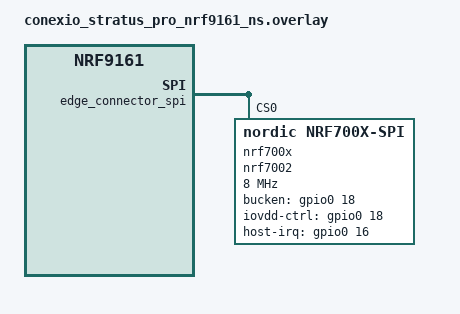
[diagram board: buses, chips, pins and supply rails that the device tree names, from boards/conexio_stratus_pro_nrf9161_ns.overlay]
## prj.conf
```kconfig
#
# Copyright (c) 2022 Nordic Semiconductor ASA
# Copyright (c) 2024 Conexio Technologies, Inc
#
# SPDX-License-Identifier: LicenseRef-Nordic-5-Clause
#
CONFIG_WIFI=y
CONFIG_WIFI_NRF700X=y
CONFIG_NET_L2_WIFI_MGMT=y
CONFIG_HEAP_MEM_POOL_SIZE=25000

# System settings
CONFIG_ASSERT=y

# Networking
CONFIG_NETWORKING=y
CONFIG_NET_L2_ETHERNET=y
CONFIG_NET_NATIVE=n
CONFIG_NET_OFFLOAD=y

CONFIG_INIT_STACKS=y

# Memories
CONFIG_MAIN_STACK_SIZE=4096

# Debugging
CONFIG_STACK_SENTINEL=y
CONFIG_DEBUG_COREDUMP=y
CONFIG_DEBUG_COREDUMP_BACKEND_LOGGING=y
CONFIG_DEBUG_COREDUMP_MEMORY_DUMP_MIN=y

# Logging
CONFIG_LOG=y
CONFIG_PRINTK=y
# If below config is enabled, printk logs are
# buffered. For unbuffered messages, disable this.
CONFIG_LOG_PRINTK=n

# printing of scan results puts pressure on queues in new locking
# design in net_mgmt. So, use a higher timeout for a crowded
# environment.
CONFIG_NET_MGMT_EVENT_QUEUE_TIMEOUT=5000

# Raw scan Options
CONFIG_WIFI_MGMT_RAW_SCAN_RESULTS=n
CONFIG_WIFI_MGMT_RAW_SCAN_RESULTS_ONLY=n

CONFIG_WIFI_SCAN_DWELL_TIME_ACTIVE=50
CONFIG_WIFI_SCAN_DWELL_TIME_PASSIVE=130

# Enable SPI for comms with nRF7002EB
CONFIG_SPI=y 
```

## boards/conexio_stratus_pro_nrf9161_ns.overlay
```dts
/*
 * Copyright (c) 2024 Conexio Technologies, Inc
 *
 * SPDX-License-Identifier: Apache-2.0
 */

/* enable nrf7002EB SPI comms */
&edge_connector_spi {
	status = "okay";

	nrf700x: nrf7002@0 {
		compatible = "nordic,nrf700x-spi";
		reg = <0>;
		spi-max-frequency = <DT_FREQ_M(8)>;

		/* No separate pin for IOVDD, BUCKEN will handle IOVDD automatically,
		 * but this entry is for compatibility purposes and to avoid adding a
		 * special case in the nRF700x driver.
		 * selects NRF_WIFI_COMBINED_BUCKEN_IOVDD_GPIO in Kconfig.shield
		 */
		bucken-gpios = <&gpio0 18 (GPIO_ACTIVE_HIGH | GPIO_PULL_DOWN)>;
		iovdd-ctrl-gpios = <&gpio0 18 (GPIO_ACTIVE_HIGH | GPIO_PULL_DOWN)>;
		host-irq-gpios = <&gpio0 16 GPIO_ACTIVE_HIGH>;
	};
};
```

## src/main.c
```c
/*
 * Copyright (c) 2022 Nordic Semiconductor ASA
 * Copyright (c) 2024 Conexio Technologies, Inc
 * 
 * SPDX-License-Identifier: LicenseRef-Nordic-5-Clause
 */

/** @file
 * @brief WiFi scan sample
 */

#include <zephyr/logging/log.h>
LOG_MODULE_REGISTER(scan, CONFIG_LOG_DEFAULT_LEVEL);

#include <zephyr/kernel.h>
#if defined(CLOCK_FEATURE_HFCLK_DIVIDE_PRESENT) || NRF_CLOCK_HAS_HFCLK192M
#include <nrfx_clock.h>
#endif
#include <stdio.h>
#include <stdlib.h>
#include <zephyr/shell/shell.h>
#include <zephyr/sys/printk.h>
#include <zephyr/init.h>

#include <zephyr/net/net_if.h>
#include <zephyr/net/wifi_mgmt.h>
#include <zephyr/net/wifi_utils.h>
#include <zephyr/net/net_event.h>
#include <zephyr/net/ethernet.h>
#include <zephyr/net/ethernet_mgmt.h>

#include "net_private.h"

#include <zephyr/drivers/gpio.h>

#define WIFI_SHELL_MODULE "wifi"

#ifdef CONFIG_WIFI_MGMT_RAW_SCAN_RESULTS_ONLY
#define WIFI_SHELL_MGMT_EVENTS (NET_EVENT_WIFI_RAW_SCAN_RESULT |                \
				NET_EVENT_WIFI_SCAN_DONE)
#else
#define WIFI_SHELL_MGMT_EVENTS (NET_EVENT_WIFI_SCAN_RESULT |		\
				NET_EVENT_WIFI_SCAN_DONE |		\
				NET_EVENT_WIFI_RAW_SCAN_RESULT)
#endif
#define SCAN_TIMEOUT_MS 10000

static uint32_t scan_result;

const struct wifi_scan_params tests[] = {
#ifdef CONFIG_WIFI_SCAN_PROFILE_DEFAULT
	{
	},
#endif
#ifdef CONFIG_WIFI_SCAN_PROFILE_ACTIVE
	{
	.scan_type = WIFI_SCAN_TYPE_ACTIVE,
	.dwell_time_active = CONFIG_WIFI_SCAN_DWELL_TIME_ACTIVE
	},
#endif
#ifdef CONFIG_WIFI_SCAN_PROFILE_PASSIVE
	{
	.scan_type = WIFI_SCAN_TYPE_PASSIVE,
	.dwell_time_passive = CONFIG_WIFI_SCAN_DWELL_TIME_PASSIVE
	},
#endif
#ifdef CONFIG_WIFI_SCAN_PROFILE_2_4GHz_ACTIVE
	{
	.scan_type = WIFI_SCAN_TYPE_ACTIVE,
	.bands = 0
	},
#endif
#ifdef CONFIG_WIFI_SCAN_PROFILE_2_4GHz_PASSIVE
	{
	.scan_type = WIFI_SCAN_TYPE_PASSIVE,
	.bands = 0
	},
#endif
#ifdef CONFIG_WIFI_SCAN_PROFILE_5GHz_ACTIVE
	{
	.scan_type = WIFI_SCAN_TYPE_ACTIVE,
	.bands = 0
	},
#endif
#ifdef CONFIG_WIFI_SCAN_PROFILE_5GHz_PASSIVE
	{
	.scan_type = WIFI_SCAN_TYPE_PASSIVE,
	.bands = 0
	},
#endif
#ifdef CONFIG_WIFI_SCAN_PROFILE_2_4GHz_NON_OVERLAP_CHAN
	{
	.bands = 0,
	.chan = { {0, 0} }
	},
#endif
#ifdef CONFIG_WIFI_SCAN_PROFILE_5GHz_NON_DFS_CHAN
	{
	.bands = 0,
	.chan = { {0, 0} }
	},
#endif
#ifdef CONFIG_WIFI_SCAN_PROFILE_2_4GHz_NON_OVERLAP_AND_5GHz_NON_DFS_CHAN
	{
	.bands = 0,
	.chan = { {0, 0} }
	},
#endif
};

static struct net_mgmt_event_callback wifi_shell_mgmt_cb;

K_SEM_DEFINE(scan_sem, 0, 1);

#if defined CONFIG_WIFI_NRF700X_SKIP_LOCAL_ADMIN_MAC
static bool local_mac_check(const uint8_t *const mac)
{
return ((mac[0] & 0x02) ||
((mac[0] == 0x00) && (mac[1] == 0x00) && (mac[2] == 0x5E)));
}
#endif /* CONFIG_WIFI_NRF700X_SKIP_LOCAL_ADMIN_MAC */

static void handle_wifi_scan_result(struct net_mgmt_event_callback *cb)
{
	const struct wifi_scan_result *entry =
		(const struct wifi_scan_result *)cb->info;
	uint8_t mac_string_buf[sizeof("xx:xx:xx:xx:xx:xx")];
	uint8_t ssid_print[WIFI_SSID_MAX_LEN + 1];

	scan_result++;

	if (scan_result == 1U) {
		printk("%-4s | %-32s %-5s | %-4s | %-4s | %-5s | %s\n",
		       "Num", "SSID", "(len)", "Chan", "RSSI", "Security", "BSSID");
	}

	strncpy(ssid_print, entry->ssid, sizeof(ssid_print) - 1);
	ssid_print[sizeof(ssid_print) - 1] = '\0';

#if defined CONFIG_WIFI_NRF700X_SKIP_LOCAL_ADMIN_MAC
	__ASSERT(!local_mac_check(entry->mac), "Locally administered MAC found: %s\n", ssid_print);
#endif /* CONFIG_WIFI_NRF700X_SKIP_LOCAL_ADMIN_MAC */

	printk("%-4d | %-32s %-5u | %-4u | %-4d | %-5s | %s\n",
	       scan_result, ssid_print, entry->ssid_length,
	       entry->channel, entry->rssi,
	       wifi_security_txt(entry->security),
	       ((entry->mac_length) ?
			net_sprint_ll_addr_buf(entry->mac, WIFI_MAC_ADDR_LEN, mac_string_buf,
						sizeof(mac_string_buf)) : ""));
}

#ifdef CONFIG_WIFI_MGMT_RAW_SCAN_RESULTS
static int wifi_freq_to_channel(int frequency)
{
	int channel = 0;

	if (frequency == 2484) { /* channel 14 */
		channel = 14;
	} else if ((frequency <= 2472) && (frequency >= 2412)) {
		channel = ((frequency - 2412) / 5) + 1;
	} else if ((frequency <= 5895) && (frequency >= 5180)) {
		channel = ((frequency - 5000) / 5);
	} else {
		channel = frequency;
	}

	return channel;
}

static enum wifi_frequency_bands wifi_frequency_to_band(int frequency)
{
	enum wifi_frequency_bands band = WIFI_FREQ_BAND_2_4_GHZ;

	if ((frequency  >= 2401) && (frequency <= 2495)) {
		band = WIFI_FREQ_BAND_2_4_GHZ;
	} else if ((frequency  >= 5170) && (frequency <= 5895)) {
		band = WIFI_FREQ_BAND_5_GHZ;
	}

	return band;
}

static void handle_raw_scan_result(struct net_mgmt_event_callback *cb)
{
	struct wifi_raw_scan_result *raw =
		(struct wifi_raw_scan_result *)cb->info;
	int channel;
	int band;
	int rssi;
	int i = 0;
	int raw_scan_size = raw->frame_length;
	uint8_t mac_string_buf[sizeof("xx:xx:xx:xx:xx:xx")];

	scan_result++;

	if (scan_result == 1U) {
		printk("%-4s | %-13s | %-4s |  %-15s | %-15s | %-32s\n",
		      "Num", "Channel (Band)", "RSSI", "BSSID", "Frame length", "Frame Body");
	}

	rssi = raw->rssi;
	channel = wifi_freq_to_channel(raw->frequency);
	band = wifi_frequency_to_band(raw->frequency);

	printk("%-4d | %-4u (%-6s) | %-4d | %s |      %-4d        ",
	      scan_result, channel,
	      wifi_band_txt(band),
	      rssi,
	      net_sprint_ll_addr_buf(raw->data + 10, WIFI_MAC_ADDR_LEN, mac_string_buf,
				     sizeof(mac_string_buf)), raw_scan_size);

	if (raw->frame_length > CONFIG_WIFI_MGMT_RAW_SCAN_RESULT_LENGTH) {
		raw_scan_size = CONFIG_WIFI_MGMT_RAW_SCAN_RESULT_LENGTH;
	}

	if (raw_scan_size) {
		for (i = 0; i < 32; i++) {
			printk("%02X ", *(raw->data + i));
		}
	}

	printk("\n");
}
#endif

static void handle_wifi_scan_done(struct net_mgmt_event_callback *cb)
{
	const struct wifi_status *status =
		(const struct wifi_status *)cb->info;

	if (status->status) {
		LOG_ERR("Scan request failed (%d)", status->status);
	} else {
		printk("Scan request done\n");
	}

	scan_result = 0U;
	k_sem_give(&scan_sem);
}

static void wifi_mgmt_event_handler(struct net_mgmt_event_callback *cb,
				     uint32_t mgmt_event, struct net_if *iface)
{
	switch (mgmt_event) {
	case NET_EVENT_WIFI_SCAN_RESULT:
		handle_wifi_scan_result(cb);
		break;
#ifdef CONFIG_WIFI_MGMT_RAW_SCAN_RESULTS
	case NET_EVENT_WIFI_RAW_SCAN_RESULT:
		handle_raw_scan_result(cb);
		break;
#endif
	case NET_EVENT_WIFI_SCAN_DONE:
		handle_wifi_scan_done(cb);
		break;
	default:
		break;
	}
}

static int wifi_scan(void)
{
	struct net_if *iface = net_if_get_default();
	int band_str_len;

	struct wifi_scan_params params = tests[0];

	band_str_len = sizeof(CONFIG_WIFI_SCAN_BANDS_LIST);
	if (band_str_len - 1) {
		char *buf = malloc(band_str_len);

		if (!buf) {
			LOG_ERR("Malloc Failed");
			return -EINVAL;
		}
		strcpy(buf, CONFIG_WIFI_SCAN_BANDS_LIST);
		if (wifi_utils_parse_scan_bands(buf, &params.bands)) {
			LOG_ERR("Incorrect value(s) in CONFIG_WIFI_SCAN_BANDS_LIST: %s",
					CONFIG_WIFI_SCAN_BANDS_LIST);
			free(buf);
			return -ENOEXEC;
		}
		free(buf);
	}

	if (sizeof(CONFIG_WIFI_SCAN_CHAN_LIST) - 1) {
		if (wifi_utils_parse_scan_chan(CONFIG_WIFI_SCAN_CHAN_LIST,
						params.band_chan, ARRAY_SIZE(params.band_chan))) {
			LOG_ERR("Incorrect value(s) in CONFIG_WIFI_SCAN_CHAN_LIST: %s",
					CONFIG_WIFI_SCAN_CHAN_LIST);
			return -ENOEXEC;
		}
	}

	if (net_mgmt(NET_REQUEST_WIFI_SCAN, iface, &params,
			sizeof(struct wifi_scan_params))) {
		LOG_ERR("Scan request failed");
		return -ENOEXEC;
	}

	printk("Scan requested\n");

	k_sem_take(&scan_sem, K_MSEC(SCAN_TIMEOUT_MS));

	return 0;
}

static bool is_mac_addr_set(struct net_if *iface)
{
	struct net_linkaddr *linkaddr = net_if_get_link_addr(iface);
	struct net_eth_addr wifi_addr;

	if (!linkaddr || linkaddr->len != WIFI_MAC_ADDR_LEN) {
		return false;
	}

	memcpy(wifi_addr.addr, linkaddr->addr, WIFI_MAC_ADDR_LEN);

	return net_eth_is_addr_valid(&wifi_addr);
}

int main(void)
{
	scan_result = 0U;

	net_mgmt_init_event_callback(&wifi_shell_mgmt_cb,
				     wifi_mgmt_event_handler,
				     WIFI_SHELL_MGMT_EVENTS);

	net_mgmt_add_event_callback(&wifi_shell_mgmt_cb);

	k_sleep(K_SECONDS(1));
	printk("Starting wifi scanner on %s with CPU frequency: %d MHz\n", CONFIG_BOARD, SystemCoreClock / MHZ(1));

	if (!is_mac_addr_set(net_if_get_default())) {
		struct net_if *iface = net_if_get_default();
		int ret;
		struct ethernet_req_params params;

		/* Set a local MAC address with Nordic OUI */
		if (net_if_is_admin_up(iface)) {
			ret = net_if_down(iface);
			if (ret < 0 && ret != -EALREADY) {
				LOG_ERR("Cannot bring down iface (%d)", ret);
				return ret;
			}
		}

		ret = net_bytes_from_str(params.mac_address.addr, sizeof(CONFIG_WIFI_MAC_ADDRESS),
					 CONFIG_WIFI_MAC_ADDRESS);
		if (ret) {
			LOG_ERR("Failed to parse MAC address: %s (%d)",
				CONFIG_WIFI_MAC_ADDRESS, ret);
			return ret;
		}

		net_mgmt(NET_REQUEST_ETHERNET_SET_MAC_ADDRESS, iface,
			 &params, sizeof(params));

		ret = net_if_up(iface);
		if (ret < 0 && ret != -EALREADY) {
			LOG_ERR("Cannot bring up iface (%d)", ret);
			return ret;
		}

		LOG_INF("OTP not programmed, proceeding with local MAC: %s", net_sprint_ll_addr(
							net_if_get_link_addr(iface)->addr,
							net_if_get_link_addr(iface)->len));
	}

	while (1) {
		wifi_scan();
		k_sleep(K_SECONDS(CONFIG_WIFI_SCAN_INTERVAL_S));
	}

	return 0;
}
```
